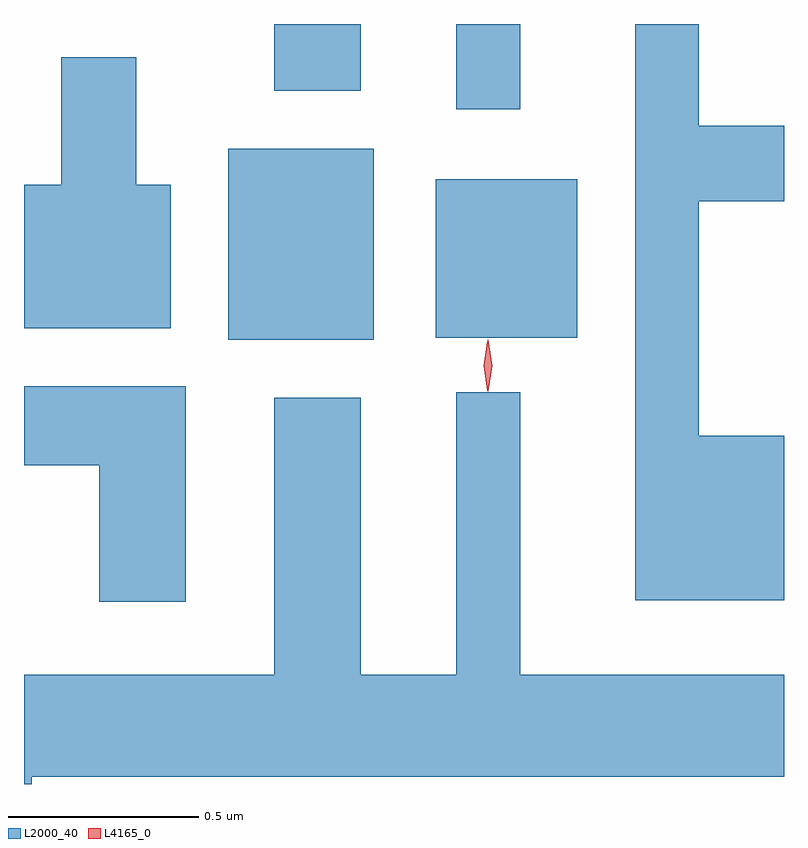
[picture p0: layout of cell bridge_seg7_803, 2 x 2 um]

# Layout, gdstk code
import gdstk
lib = gdstk.Library(unit=1e-6, precision=1e-09)
def R(c, l, rs):  # rectangles x0, y0, x1, y1
    for r in rs: c.add(gdstk.rectangle(r[:2], r[2:], *l))
def P(c, l, *ps):  # polygons
    for p in ps: c.add(gdstk.Polygon(p, *l))
L2000_40 = (2000, 40)
L4165_0 = (4165, 0)

bridge_seg7_803 = lib.new_cell('bridge_seg7_803')
R(bridge_seg7_803, L2000_40, [(255.821,1795.386,256.204,1795.889), (256.366,1795.391,256.739,1795.809), (256.421,1795.993,256.589,1796.217), (255.941,1796.041,256.169,1796.217)])
P(bridge_seg7_803, L2000_40, [(257.283,1795.134),(257.059,1795.134),(257.059,1795.751),(257.283,1795.751),(257.283,1795.949),(257.059,1795.949),(257.059,1796.217),(256.891,1796.217),(256.891,1794.701),(257.283,1794.701)],
  [(255.669,1795.794),(255.579,1795.794),(255.579,1796.129),(255.381,1796.129),(255.381,1795.794),(255.283,1795.794),(255.283,1795.416),(255.669,1795.416)],
  [(255.709,1795.264),(255.283,1795.264),(255.283,1795.056),(255.481,1795.056),(255.481,1794.696),(255.709,1794.696)],
  [(255.304,1794.236),(257.283,1794.236),(257.283,1794.504),(256.589,1794.504),(256.589,1795.248),(256.421,1795.248),(256.421,1794.504),(256.169,1794.504),(256.169,1795.234),(255.941,1795.234),(255.941,1794.504),(255.283,1794.504),(255.283,1794.217),(255.304,1794.217)])
P(bridge_seg7_803, L4165_0, [(256.502,1795.253),(256.493,1795.318),(256.502,1795.381),(256.503,1795.382),(256.504,1795.381),(256.513,1795.318),(256.504,1795.253),(256.503,1795.253)],
  [(256.504,1795.25),(256.495,1795.318),(256.504,1795.386),(256.504,1795.386),(256.505,1795.386),(256.515,1795.318),(256.505,1795.25),(256.505,1795.25)])

lib.write_gds('bridge_seg7_803.gds')
